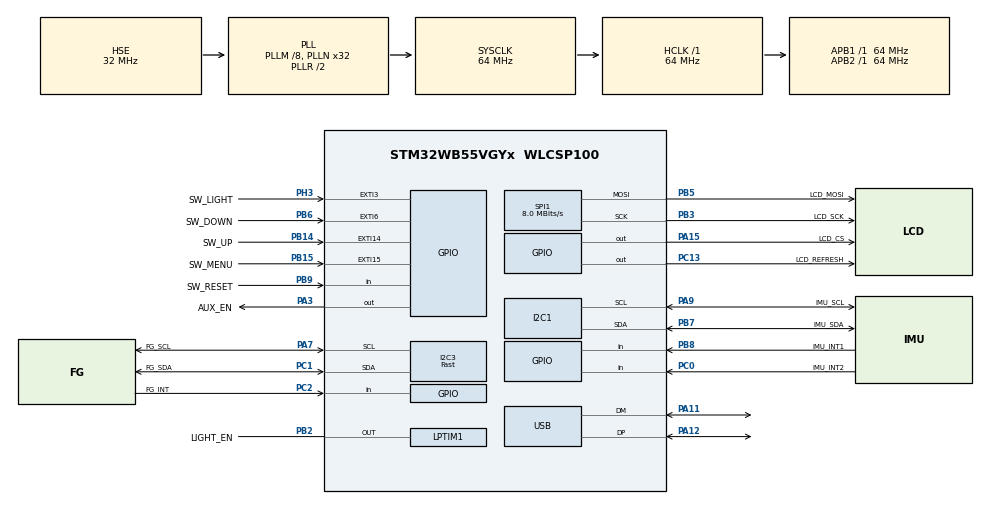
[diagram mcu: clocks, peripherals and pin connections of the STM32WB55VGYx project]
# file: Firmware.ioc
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I2C1.Analog_Filter=I2C_ANALOGFILTER_DISABLE
I2C1.Speed=100
I2C1.Timing=0x60312433
I2C3.I2C_Speed_Mode=I2C_Fast
I2C3.Timing=0x00C12166
Mcu.Family=STM32WB
Mcu.Name=STM32WB55VGYx
Mcu.Package=WLCSP100
NVIC.EXTI15_10_IRQn=true\:0\:0\:false\:false\:true\:true\:true\:true
NVIC.EXTI3_IRQn=true\:0\:0\:false\:false\:true\:true\:true\:true
NVIC.EXTI9_5_IRQn=true\:0\:0\:false\:false\:true\:true\:true\:true
NVIC.PriorityGroup=NVIC_PRIORITYGROUP_4
NVIC.RTC_WKUP_IRQn=true\:0\:0\:false\:false\:true\:true\:true\:true
OSC_IN.Mode=HSE-External-Oscillator
OSC_IN.Signal=RCC_OSC_IN
OSC_OUT.Mode=HSE-External-Oscillator
OSC_OUT.Signal=RCC_OSC_OUT
PA11.Mode=Device
PA11.Signal=USB_DM
PA12.Mode=Device
PA12.Signal=USB_DP
PA13.Mode=Serial_Wire
PA13.Signal=SYS_JTMS-SWDIO
PA14.Mode=Serial_Wire
PA14.Signal=SYS_JTCK-SWCLK
PA15.GPIO_Label=LCD_CS
PA15.Signal=GPIO_Output
PA3.GPIO_Label=AUX_EN
PA3.Signal=GPIO_Output
PA7.GPIO_Label=FG_SCL
PA7.Mode=I2C
PA7.Signal=I2C3_SCL
PA9.GPIO_Label=IMU_SCL
PA9.Mode=I2C
PA9.Signal=I2C1_SCL
PB14.GPIO_Label=SW_UP
PB14.GPIO_ModeDefaultEXTI=GPIO_MODE_IT_FALLING
PB14.GPIO_PuPd=GPIO_PULLUP
PB14.Signal=GPXTI14
PB15.GPIO_Label=SW_MENU
PB15.GPIO_ModeDefaultEXTI=GPIO_MODE_IT_FALLING
PB15.GPIO_PuPd=GPIO_PULLUP
PB15.Signal=GPXTI15
PB2.GPIO_Label=LIGHT_EN
PB2.Mode=WaveformGeneration
PB2.Signal=LPTIM1_OUT
PB3.GPIO_Label=LCD_SCK
PB3.Mode=TX_Only_Simplex_Unidirect_Master
PB3.Signal=SPI1_SCK
PB5.GPIO_Label=LCD_MOSI
PB5.Mode=TX_Only_Simplex_Unidirect_Master
PB5.Signal=SPI1_MOSI
PB6.GPIO_Label=SW_DOWN
PB6.GPIO_ModeDefaultEXTI=GPIO_MODE_IT_FALLING
PB6.GPIO_PuPd=GPIO_PULLUP
PB6.Signal=GPXTI6
PB7.GPIO_Label=IMU_SDA
PB7.Mode=I2C
PB7.Signal=I2C1_SDA
PB8.GPIO_Label=IMU_INT1
PB8.Signal=GPIO_Input
PB9.GPIO_Label=SW_RESET
PB9.Signal=GPIO_Input
PC0.GPIO_Label=IMU_INT2
PC0.Signal=GPIO_Input
PC1.GPIO_Label=FG_SDA
PC1.Mode=I2C
PC1.Signal=I2C3_SDA
PC13.GPIO_Label=LCD_REFRESH
PC13.GPIO_ModeDefaultOutputPP=GPIO_MODE_OUTPUT_PP
PC13.GPIO_PuPd=GPIO_PULLUP
PC13.Signal=GPIO_Output
PC14-OSC32_IN.Mode=LSE-External-Oscillator
PC14-OSC32_IN.Signal=RCC_OSC32_IN
PC15-OSC32_OUT.Mode=LSE-External-Oscillator
PC15-OSC32_OUT.Signal=RCC_OSC32_OUT
PC2.GPIO_Label=FG_INT
PC2.Signal=GPIO_Input
PH3-BOOT0.GPIO_Label=SW_LIGHT
PH3-BOOT0.GPIO_ModeDefaultEXTI=GPIO_MODE_IT_RISING_FALLING
PH3-BOOT0.GPIO_PuPd=GPIO_NOPULL
PH3-BOOT0.Signal=GPXTI3
ProjectManager.HeapSize=0x200
ProjectManager.StackSize=0x400
ProjectManager.TargetToolchain=STM32CubeIDE
RCC.ADCFreq_Value=48000000
RCC.AHB2CLKDivider=RCC_SYSCLK_DIV2
RCC.AHBFreq_Value=64000000
RCC.APB1Freq_Value=64000000
RCC.APB1TimFreq_Value=64000000
RCC.APB2Freq_Value=64000000
RCC.APB2TimFreq_Value=64000000
RCC.APB3Freq_Value=16000000
RCC.Cortex2_Div=SYSTICK_CLKSOURCE_HCLK_DIV8
RCC.CortexFreq_Value=64000000
RCC.HCLKFreq_Value=64000000
RCC.HSE_VALUE=32000000
RCC.HSI48_VALUE=48000000
RCC.HSI_VALUE=16000000
RCC.LPTIM1CLockSelection=RCC_LPTIM1CLKSOURCE_LSI
RCC.PLLM=RCC_PLLM_DIV8
RCC.PLLN=32
RCC.PLLSAI1N=24
RCC.PLLSourceVirtual=RCC_PLLSOURCE_HSE
RCC.RTCClockSelection=RCC_RTCCLKSOURCE_LSE
RCC.SMPSCLockSelection=RCC_SMPSCLKSOURCE_HSE
RCC.SMPSDivider=4
RCC.SYSCLKFreq_VALUE=64000000
RCC.SYSCLKSource=RCC_SYSCLKSOURCE_PLLCLK
RCC.USBFreq_Value=48000000
RCC.VCOOutputFreq_Value=128000000
RTC.AsynchPrediv=127
RTC.SynchPrediv=255
SPI1.BaudRatePrescaler=SPI_BAUDRATEPRESCALER_8
SPI1.CLKPhase=SPI_PHASE_1EDGE
SPI1.CalculateBaudRate=8.0 MBits/s
SPI1.DataSize=SPI_DATASIZE_8BIT
SPI1.Direction=SPI_DIRECTION_2LINES
SPI1.FirstBit=SPI_FIRSTBIT_MSB
SPI1.Mode=SPI_MODE_MASTER
SPI1.NSSPMode=SPI_NSS_PULSE_DISABLE
SPI1.VirtualType=VM_MASTER
VP_LPTIM1_VS_LPTIM_counterModeInternalClock.Mode=Counts__internal_clock_event_00
VP_MEMORYMAP_VS_MEMORYMAP.Mode=CurAppReg
VP_RTC_VS_RTC_Activate.Mode=RTC_Enabled
VP_RTC_VS_RTC_WakeUp_intern.Mode=WakeUp
board=custom

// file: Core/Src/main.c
/* USER CODE BEGIN Header */
/**
  ******************************************************************************
  * @file           : main.c
  * @brief          : Main program body
  ******************************************************************************
  * @attention
  *
  * Copyright (c) 2024 STMicroelectronics.
  * All rights reserved.
  *
  * This software is licensed under terms that can be found in the LICENSE file
  * in the root directory of this software component.
  * If no LICENSE file comes with this software, it is provided AS-IS.
  *
  ******************************************************************************
  */

// dfu-util -d 0483:df11 -a 0 --download Firmware.bin -s 0x8000000 -R

/* USER CODE END Header */
#include "main.h"
#include "i2c.h"
#include "lptim.h"
#include "memorymap.h"
#include "rtc.h"
#include "spi.h"
#include "usb.h"
#include "gpio.h"

/* USER CODE BEGIN Includes */
#include "lcd.h"
#include "bq27441.h"
#include "sleep.h"
/* USER CODE END Includes */

/* USER CODE BEGIN PV */
uint8_t up_just_pressed = 0;
uint8_t menu_just_pressed = 0;
uint8_t down_just_pressed = 0;

uint32_t up_press_start_timestamp;
uint32_t menu_press_start_timestamp;
uint32_t down_press_start_timestamp;

uint8_t should_sleep = 1;
/* USER CODE END PV */

void SystemClock_Config(void);
void PeriphCommonClock_Config(void);

/* USER CODE BEGIN 0 */
void HAL_GPIO_EXTI_Callback(uint16_t GPIO_Pin) {
	uint32_t current_timestamp = HAL_GetTick();

	if (GPIO_Pin == GPIO_PIN_14) { // UP
		if ((current_timestamp - up_press_start_timestamp) > 200) {
			up_just_pressed = 1;
			up_press_start_timestamp = current_timestamp;
		}
	} else if(GPIO_Pin == GPIO_PIN_15) { // MENU
		if ((current_timestamp - menu_press_start_timestamp) > 200) {
			menu_just_pressed = 1;
			menu_press_start_timestamp = current_timestamp;
		}
	} else if (GPIO_Pin == GPIO_PIN_6) { // DOWN
		if ((current_timestamp - down_press_start_timestamp) > 200) {
			down_just_pressed = 1;
			down_press_start_timestamp = current_timestamp;
		}
	} else if (GPIO_Pin == GPIO_PIN_3) { // LIGHT
		if (HAL_GPIO_ReadPin(SW_LIGHT_GPIO_Port, SW_LIGHT_Pin)) {
			HAL_LPTIM_PWM_Start(&hlptim1, 100, 50);
		} else {
			HAL_LPTIM_PWM_Stop(&hlptim1);
		}
	}
}

static int16_t BQ27441_i2cWriteBytes(uint8_t DevAddress, uint8_t subAddress, uint8_t * src, uint8_t count)
{
    if (HAL_I2C_Mem_Write(&hi2c3, (uint16_t)(DevAddress << 1), subAddress, 1, src, count, 50) == HAL_OK)
        return true;
    else
        return false;
}

static int16_t BQ27441_i2cReadBytes(uint8_t DevAddress, uint8_t subAddress, uint8_t * dest, uint8_t count)
{
    if (HAL_I2C_Mem_Read(&hi2c3, (uint16_t)(DevAddress << 1), subAddress, 1, dest, count, 50) == HAL_OK)
        return true;
    else
        return false;
}

/* USER CODE END 0 */

int main(void)
{

  /* MCU Configuration--------------------------------------------------------*/

  /* Reset of all peripherals, Initializes the Flash interface and the Systick. */
  HAL_Init();

  /* Configure the system clock */
  SystemClock_Config();

  /* Configure the peripherals common clocks */
  PeriphCommonClock_Config();

  /* USER CODE BEGIN SysInit */
  sleep_init();
  /* USER CODE END SysInit */

  /* Initialize all configured peripherals */
  MX_GPIO_Init();
  MX_LPTIM1_Init();
  MX_RTC_Init();
  MX_I2C1_Init();
  MX_I2C3_Init();
  MX_SPI1_Init();
  MX_USB_PCD_Init();
  /* USER CODE BEGIN 2 */
  HAL_RTCEx_SetSmoothCalib(&hrtc, RTC_SMOOTHCALIB_PERIOD_32SEC, RTC_SMOOTHCALIB_PLUSPULSES_RESET, 160);

  static BQ27441_ctx_t BQ27441 = {
		  .BQ27441_i2c_address = BQ72441_I2C_ADDRESS, // i2c device address, if you have another address change this
		  .read_reg = BQ27441_i2cReadBytes,           // i2c read callback
		  .write_reg = BQ27441_i2cWriteBytes,         // i2c write callback
  };
  BQ27441_init(&BQ27441);
//  BQ27441_Full_Reset();
  BQ27441_enterConfig(1);
  BQ27441_setCapacity(500);
  BQ27441_setTerminateVoltageMin(3000);
  BQ27441_exitConfig(1);

  lcd_init();
  /* USER CODE END 2 */

  /* Infinite loop */
  /* USER CODE BEGIN WHILE */
  while (1)
  {
	uint32_t current_timestamp = HAL_GetTick();

	static uint8_t editing = 0;

	static bool just_switched = false;
	if (!HAL_GPIO_ReadPin(SW_MENU_GPIO_Port, SW_MENU_Pin) && ((current_timestamp - menu_press_start_timestamp) > 3000)) {
		if (!just_switched) {
			should_sleep = !should_sleep;
			editing = 0;
			just_switched = true;
		}
	} else {
		just_switched = false;
	}

	if (should_sleep) {
		up_just_pressed = false;
		menu_just_pressed = false;
		down_just_pressed = false;

		lcd_update(-1);
		enter_stop(200);
	} else {

		RTC_TimeTypeDef new_time = {0};
		RTC_DateTypeDef new_date = {0};
		HAL_RTC_GetTime(&hrtc, &new_time, RTC_FORMAT_BIN);
		HAL_RTC_GetDate(&hrtc, &new_date, RTC_FORMAT_BIN);

		 if (up_just_pressed) {
			 if (editing == 0) new_time.Hours = (uint16_t)((uint16_t)new_time.Hours + 1) % 24;
			 else if (editing == 1) new_time.Minutes = (uint16_t)((uint16_t)new_time.Minutes + 1) % 60;
			 else if (editing == 2) new_time.Seconds = (uint16_t)((uint16_t)new_time.Seconds + 1) % 60;
			 else if (editing == 3) new_date.WeekDay = (uint16_t)((uint16_t)new_date.WeekDay + 1)% 6;
			 else if (editing == 4) new_date.Date = (uint16_t)((uint16_t)new_date.Date % 31) + 1;
			 else if (editing == 5) new_date.Month = (uint16_t)((uint16_t)new_date.Month % 12) + 1;
			 else if (editing == 6) new_date.Year = (uint16_t)((uint16_t)new_date.Year + 1) % 100;

			up_just_pressed = false;
		 }

		 if (down_just_pressed) {
			 if (editing == 0) new_time.Hours = (uint16_t)((uint16_t)new_time.Hours - 1) % 24;
			 else if (editing == 1) new_time.Minutes = (uint16_t)((uint16_t)new_time.Minutes - 1) % 60;
			 else if (editing == 2) new_time.Seconds = (uint16_t)((uint16_t)new_time.Seconds - 1) % 60;
			 else if (editing == 3) new_date.WeekDay = (uint16_t)((uint16_t)new_date.WeekDay - 1) % 6;
			 else if (editing == 4) new_date.Date = (uint16_t)((uint16_t)new_date.Date - 1) % 32;
			 else if (editing == 5) new_date.Month = (uint16_t)((uint16_t)new_date.Month - 1) % 13;
			 else if (editing == 6) new_date.Year = (uint16_t)((uint16_t)new_date.Year - 1) % 100;

			 down_just_pressed = false;
		 }

		 if (menu_just_pressed) {
			 editing = (editing + 1) % 7;
			 menu_just_pressed = false;
		 }
		 HAL_RTC_SetTime(&hrtc, &new_time, RTC_FORMAT_BIN);
		 HAL_RTC_SetDate(&hrtc, &new_date, RTC_FORMAT_BIN);

		 lcd_update(editing);
	}
    /* USER CODE END WHILE */

  }
}

void SystemClock_Config(void)
{
  RCC_OscInitTypeDef RCC_OscInitStruct = {0};
  RCC_ClkInitTypeDef RCC_ClkInitStruct = {0};

  /** Configure LSE Drive Capability
  */
  HAL_PWR_EnableBkUpAccess();
  __HAL_RCC_LSEDRIVE_CONFIG(RCC_LSEDRIVE_MEDIUMHIGH);

  /** Configure the main internal regulator output voltage
  */
  __HAL_PWR_VOLTAGESCALING_CONFIG(PWR_REGULATOR_VOLTAGE_SCALE1);

  /** Initializes the RCC Oscillators according to the specified parameters
  * in the RCC_OscInitTypeDef structure.
  */
  RCC_OscInitStruct.OscillatorType = RCC_OSCILLATORTYPE_HSI|RCC_OSCILLATORTYPE_LSI1
                              |RCC_OSCILLATORTYPE_HSE|RCC_OSCILLATORTYPE_LSE;
  RCC_OscInitStruct.HSEState = RCC_HSE_ON;
  RCC_OscInitStruct.LSEState = RCC_LSE_ON;
  RCC_OscInitStruct.HSIState = RCC_HSI_ON;
  RCC_OscInitStruct.HSICalibrationValue = RCC_HSICALIBRATION_DEFAULT;
  RCC_OscInitStruct.LSIState = RCC_LSI_ON;
  RCC_OscInitStruct.PLL.PLLState = RCC_PLL_ON;
  RCC_OscInitStruct.PLL.PLLSource = RCC_PLLSOURCE_HSE;
  RCC_OscInitStruct.PLL.PLLM = RCC_PLLM_DIV8;
  RCC_OscInitStruct.PLL.PLLN = 32;
  RCC_OscInitStruct.PLL.PLLP = RCC_PLLP_DIV2;
  RCC_OscInitStruct.PLL.PLLR = RCC_PLLR_DIV2;
  RCC_OscInitStruct.PLL.PLLQ = RCC_PLLQ_DIV2;
  if (HAL_RCC_OscConfig(&RCC_OscInitStruct) != HAL_OK)
  {
    Error_Handler();
  }

  /** Configure the SYSCLKSource, HCLK, PCLK1 and PCLK2 clocks dividers
  */
  RCC_ClkInitStruct.ClockType = RCC_CLOCKTYPE_HCLK4|RCC_CLOCKTYPE_HCLK2
                              |RCC_CLOCKTYPE_HCLK|RCC_CLOCKTYPE_SYSCLK
                              |RCC_CLOCKTYPE_PCLK1|RCC_CLOCKTYPE_PCLK2;
  RCC_ClkInitStruct.SYSCLKSource = RCC_SYSCLKSOURCE_PLLCLK;
  RCC_ClkInitStruct.AHBCLKDivider = RCC_SYSCLK_DIV1;
  RCC_ClkInitStruct.APB1CLKDivider = RCC_HCLK_DIV1;
  RCC_ClkInitStruct.APB2CLKDivider = RCC_HCLK_DIV1;
  RCC_ClkInitStruct.AHBCLK2Divider = RCC_SYSCLK_DIV2;
  RCC_ClkInitStruct.AHBCLK4Divider = RCC_SYSCLK_DIV1;

  if (HAL_RCC_ClockConfig(&RCC_ClkInitStruct, FLASH_LATENCY_3) != HAL_OK)
  {
    Error_Handler();
  }
}

void PeriphCommonClock_Config(void)
{
  RCC_PeriphCLKInitTypeDef PeriphClkInitStruct = {0};

  /** Initializes the peripherals clock
  */
  PeriphClkInitStruct.PeriphClockSelection = RCC_PERIPHCLK_SMPS;
  PeriphClkInitStruct.SmpsClockSelection = RCC_SMPSCLKSOURCE_HSE;
  PeriphClkInitStruct.SmpsDivSelection = RCC_SMPSCLKDIV_RANGE1;

  if (HAL_RCCEx_PeriphCLKConfig(&PeriphClkInitStruct) != HAL_OK)
  {
    Error_Handler();
  }
}

void Error_Handler(void)
{
  __disable_irq();
  while (1)
  {
  }
}
